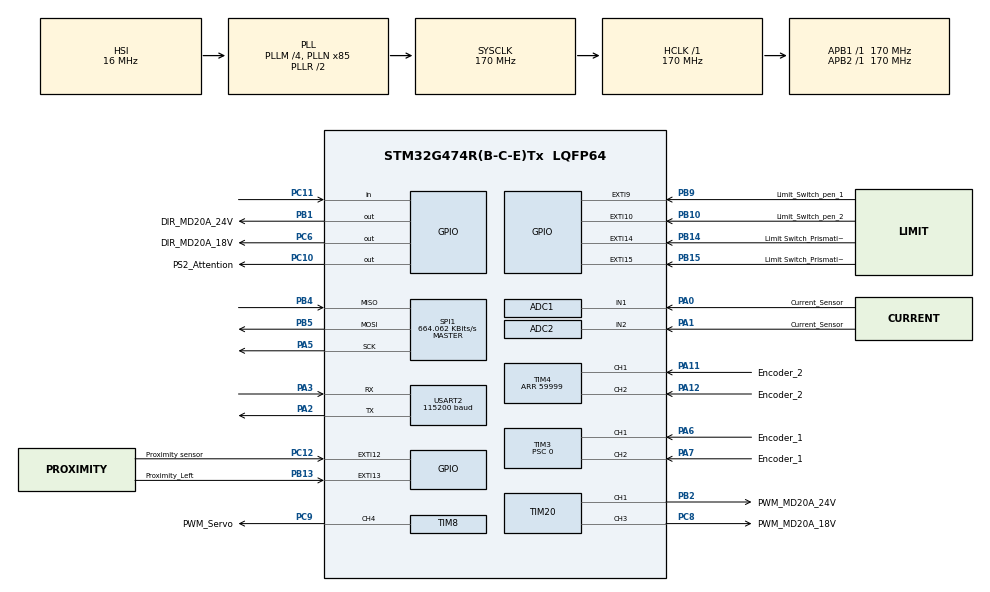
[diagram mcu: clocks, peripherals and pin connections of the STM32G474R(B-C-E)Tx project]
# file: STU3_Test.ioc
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ADC1.Channel-0\#ChannelRegularConversion=ADC_CHANNEL_1
ADC1.NbrOfConversionFlag=1
ADC1.OffsetNumber-0\#ChannelRegularConversion=ADC_OFFSET_NONE
ADC1.Rank-0\#ChannelRegularConversion=1
ADC1.SamplingTime-0\#ChannelRegularConversion=ADC_SAMPLETIME_2CYCLES_5
ADC1.master=1
ADC2.Channel-0\#ChannelRegularConversion=ADC_CHANNEL_2
ADC2.NbrOfConversionFlag=1
ADC2.OffsetNumber-0\#ChannelRegularConversion=ADC_OFFSET_NONE
ADC2.Rank-0\#ChannelRegularConversion=1
ADC2.SamplingTime-0\#ChannelRegularConversion=ADC_SAMPLETIME_2CYCLES_5
ARM.CMSIS-DSP.1.15.0.CMSISJjDSP=Source
ARM.CMSIS.6.0.0.CMSISJjCORE=true
Dma.Request0=USART2_TX
Dma.USART2_TX.0.Direction=DMA_MEMORY_TO_PERIPH
Dma.USART2_TX.0.EventEnable=DISABLE
Dma.USART2_TX.0.Instance=DMA1_Channel1
Dma.USART2_TX.0.MemDataAlignment=DMA_MDATAALIGN_BYTE
Dma.USART2_TX.0.MemInc=DMA_MINC_ENABLE
Dma.USART2_TX.0.Mode=DMA_NORMAL
Dma.USART2_TX.0.PeriphDataAlignment=DMA_PDATAALIGN_BYTE
Dma.USART2_TX.0.PeriphInc=DMA_PINC_DISABLE
Dma.USART2_TX.0.Polarity=HAL_DMAMUX_REQ_GEN_RISING
Dma.USART2_TX.0.Priority=DMA_PRIORITY_LOW
Dma.USART2_TX.0.RequestNumber=1
Dma.USART2_TX.0.SignalID=NONE
Dma.USART2_TX.0.SyncEnable=DISABLE
Dma.USART2_TX.0.SyncPolarity=HAL_DMAMUX_SYNC_NO_EVENT
Dma.USART2_TX.0.SyncRequestNumber=1
Dma.USART2_TX.0.SyncSignalID=NONE
Mcu.Family=STM32G4
Mcu.Name=STM32G474R(B-C-E)Tx
Mcu.Package=LQFP64
NVIC.DMA1_Channel1_IRQn=true\:0\:0\:false\:false\:true\:false\:true\:true
NVIC.EXTI15_10_IRQn=true\:0\:0\:false\:false\:true\:true\:true\:true
NVIC.EXTI9_5_IRQn=true\:0\:0\:false\:false\:true\:true\:true\:true
NVIC.PriorityGroup=NVIC_PRIORITYGROUP_4
NVIC.TIM1_BRK_TIM15_IRQn=true\:0\:0\:false\:false\:true\:true\:true\:true
NVIC.TIM1_UP_TIM16_IRQn=true\:0\:0\:false\:false\:true\:true\:true\:true
NVIC.TIM2_IRQn=true\:0\:0\:false\:false\:true\:true\:true\:true
NVIC.TIM6_DAC_IRQn=true\:0\:0\:false\:false\:true\:true\:true\:true
NVIC.USART2_IRQn=true\:0\:0\:false\:false\:true\:true\:true\:true
PA0.GPIO_Label=Current_Sensor
PA0.Mode=IN1-Single-Ended
PA0.Signal=ADC1_IN1
PA1.GPIO_Label=Current_Sensor
PA1.Signal=SharedAnalog_PA1
PA11.GPIO_Label=Encoder_2
PA11.Signal=S_TIM4_CH1
PA12.GPIO_Label=Encoder_2
PA12.Signal=S_TIM4_CH2
PA13.Signal=SYS_JTMS-SWDIO
PA14.Signal=SYS_JTCK-SWCLK
PA2.Mode=Asynchronous
PA2.Signal=USART2_TX
PA3.Mode=Asynchronous
PA3.Signal=USART2_RX
PA5.Mode=Full_Duplex_Master
PA5.Signal=SPI1_SCK
PA6.GPIO_Label=Encoder_1
PA6.GPIO_Speed=GPIO_SPEED_FREQ_LOW
PA6.Signal=S_TIM3_CH1
PA7.GPIO_Label=Encoder_1
PA7.GPIO_Speed=GPIO_SPEED_FREQ_LOW
PA7.Signal=S_TIM3_CH2
PB1.GPIO_Label=DIR_MD20A_24V
PB1.Signal=GPIO_Output
PB10.GPIO_Label=Limit_Switch_pen_2
PB10.GPIO_ModeDefaultEXTI=GPIO_MODE_IT_FALLING
PB10.Signal=GPXTI10
PB13.GPIO_Label=Proximity_Left
PB13.Signal=GPXTI13
PB14.GPIO_Label=Limit Switch_Prismatic1
PB14.GPIO_ModeDefaultEXTI=GPIO_MODE_IT_FALLING
PB14.Signal=GPXTI14
PB15.GPIO_Label=Limit Switch_Prismatic2
PB15.GPIO_ModeDefaultEXTI=GPIO_MODE_IT_RISING
PB15.Signal=GPXTI15
PB2.GPIO_Label=PWM_MD20A_24V
PB2.Signal=S_TIM20_CH1
PB3.Signal=SYS_JTDO-SWO
PB4.Mode=Full_Duplex_Master
PB4.Signal=SPI1_MISO
PB5.Mode=Full_Duplex_Master
PB5.Signal=SPI1_MOSI
PB9.GPIO_Label=Limit_Switch_pen_1
PB9.GPIO_ModeDefaultEXTI=GPIO_MODE_IT_FALLING
PB9.Signal=GPXTI9
PC10.GPIO_Label=PS2_Attention
PC10.PinState=GPIO_PIN_SET
PC10.Signal=GPIO_Output
PC11.Signal=GPIO_Input
PC12.GPIO_Label=Proximity sensor
PC12.GPIO_ModeDefaultEXTI=GPIO_MODE_IT_FALLING
PC12.GPIO_PuPd=GPIO_NOPULL
PC12.Signal=GPXTI12
PC14-OSC32_IN.GPIO_Label=RCC_OSC32_IN
PC14-OSC32_IN.Signal=RCC_OSC32_IN
PC15-OSC32_OUT.GPIO_Label=RCC_OSC32_OUT
PC15-OSC32_OUT.Signal=RCC_OSC32_OUT
PC6.GPIO_Label=DIR_MD20A_18V
PC6.GPIO_ModeDefaultOutputPP=GPIO_MODE_OUTPUT_PP
PC6.GPIO_PuPd=GPIO_NOPULL
PC6.Signal=GPIO_Output
PC8.GPIO_Label=PWM_MD20A_18V
PC8.Signal=S_TIM20_CH3
PC9.GPIO_Label=PWM_Servo
PC9.Signal=S_TIM8_CH4
PF0-OSC_IN.GPIO_Label=RCC_OSC_IN
PF0-OSC_IN.Signal=RCC_OSC_IN
PF1-OSC_OUT.GPIO_Label=RCC_OSC_OUT
PF1-OSC_OUT.Signal=RCC_OSC_OUT
ProjectManager.HeapSize=0x200
ProjectManager.StackSize=0x400
ProjectManager.TargetToolchain=STM32CubeIDE
RCC.ADC12Freq_Value=170000000
RCC.ADC345Freq_Value=170000000
RCC.AHBFreq_Value=170000000
RCC.APB1Freq_Value=170000000
RCC.APB1TimFreq_Value=170000000
RCC.APB2Freq_Value=170000000
RCC.APB2TimFreq_Value=170000000
RCC.CortexFreq_Value=170000000
RCC.EXTERNAL_CLOCK_VALUE=12288000
RCC.HCLKFreq_Value=170000000
RCC.HSE_VALUE=24000000
RCC.HSI48_VALUE=48000000
RCC.HSI_VALUE=16000000
RCC.LSE_VALUE=32768
RCC.PLLM=RCC_PLLM_DIV4
RCC.PLLN=85
RCC.RTCClockSelection=RCC_RTCCLKSOURCE_LSE
RCC.SYSCLKFreq_VALUE=170000000
RCC.SYSCLKSource=RCC_SYSCLKSOURCE_PLLCLK
RCC.USBFreq_Value=170000000
RCC.VCOOutputFreq_Value=340000000
SH.S_TIM20_CH1.0=TIM20_CH1,PWM Generation1 CH1
SH.S_TIM20_CH3.0=TIM20_CH3,PWM Generation3 CH3
SH.S_TIM3_CH1.0=TIM3_CH1,Encoder_Interface
SH.S_TIM3_CH2.0=TIM3_CH2,Encoder_Interface
SH.S_TIM4_CH1.0=TIM4_CH1,Encoder_Interface
SH.S_TIM4_CH2.0=TIM4_CH2,Encoder_Interface
SH.S_TIM8_CH4.0=TIM8_CH4,PWM Generation4 CH4
SH.SharedAnalog_PA1.0=ADC1_IN2
SH.SharedAnalog_PA1.1=ADC2_IN2,IN2-Single-Ended
SPI1.BaudRatePrescaler=SPI_BAUDRATEPRESCALER_256
SPI1.CLKPhase=SPI_PHASE_2EDGE
SPI1.CLKPolarity=SPI_POLARITY_HIGH
SPI1.CalculateBaudRate=664.062 KBits/s
SPI1.DataSize=SPI_DATASIZE_8BIT
SPI1.Direction=SPI_DIRECTION_2LINES
SPI1.FirstBit=SPI_FIRSTBIT_LSB
SPI1.Mode=SPI_MODE_MASTER
SPI1.VirtualType=VM_MASTER
TIM1.PeriodNoDither=60000
TIM16.Channel=TIM_CHANNEL_1
TIM16.OCMode_1=TIM_OCMODE_ACTIVE
TIM16.PeriodNoDither=2005
TIM16.Prescaler=169
TIM16.PulseNoDither_1=1433
TIM2.PeriodNoDither=1000
TIM2.Prescaler=169
TIM20.Channel-PWM\ Generation1\ CH1=TIM_CHANNEL_1
TIM20.Channel-PWM\ Generation3\ CH3=TIM_CHANNEL_3
TIM3.EncoderMode=TIM_ENCODERMODE_TI12
TIM3.PeriodNoDither=59999
TIM3.Prescaler=0
TIM4.EncoderMode=TIM_ENCODERMODE_TI12
TIM4.PeriodNoDither=59999
TIM6.PeriodNoDither=1000
TIM6.Prescaler=169
TIM8.Channel-PWM\ Generation4\ CH4=TIM_CHANNEL_4
TIM8.PeriodNoDither=19999
TIM8.Prescaler=169
USART2.BaudRate=115200
USART2.Parity=PARITY_EVEN
USART2.VirtualMode-Asynchronous=VM_ASYNC
USART2.WordLength=WORDLENGTH_9B
VP_ARM.CMSIS-DSP_VS_CMSISJjDSP_1.15.0_1.15.0.Mode=CMSISJjDSP
VP_ARM.CMSIS_VS_CMSISJjCORE_6.0.0_6.0.0.Mode=CMSISJjCORE
VP_SYS_VS_DBSignals.Mode=DisableDeadBatterySignals
VP_TIM16_VS_ClockSourceINT.Mode=Enable_Timer
VP_TIM16_VS_OPM.Mode=OPM_bit
VP_TIM16_VS_no_output1.Mode=Output Compare1 No Output
VP_TIM1_VS_ClockSourceINT.Mode=Internal
VP_TIM20_VS_ClockSourceINT.Mode=Internal
VP_TIM2_VS_ClockSourceINT.Mode=Internal
VP_TIM6_VS_ClockSourceINT.Mode=Enable_Timer
VP_TIM8_VS_ClockSourceINT.Mode=Internal
board=NUCLEO-G474RE

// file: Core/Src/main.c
/* USER CODE BEGIN Header */
/**
 ******************************************************************************
 * @file           : main.c
 * @brief          : Main program body
 ******************************************************************************
 * @attention
 *
 * Copyright (c) 2025 STMicroelectronics.
 * All rights reserved.
 *
 * This software is licensed under terms that can be found in the LICENSE file
 * in the root directory of this software component.
 * If no LICENSE file comes with this software, it is provided AS-IS.
 *
 ******************************************************************************
 */
/* USER CODE END Header */
#include "main.h"
#include "adc.h"
#include "dma.h"
#include "spi.h"
#include "tim.h"
#include "usart.h"
#include "gpio.h"

/* USER CODE BEGIN Includes */
#include "arm_math.h"
#include "Encoder.h"
#include "Trajectory.h"
#include "Anti_backlash.h"
//#include "ModBusRTU.h"
#include "Based_System_Communication.h"
#include "Kalman_Filter.h"
#include "Prismatic.h"
#include "Revolute.h"
#include "Joystick.h"
#include "emergency_switch.h"
/* USER CODE END Includes */

/* USER CODE BEGIN PV */
Encoder encoder1;
Encoder encoder2;
uint32_t QEIReadRaw3;
uint32_t QEIReadRaw4;

//Trajectory
float pos_pris;
float vel_pris;
float pos_rev;
float vel_rev;
TrajectorySegment segments[MAX_SEGMENTS];
int current_segment = 0;
TrajectorySegment Prismatic[MAX_SEGMENTS];
#define v_max_pris 500.0f
#define a_max_pris 250.0f
//#define Offset_Rev 0.436332f
TrajectorySegment Revolute[MAX_SEGMENTS];
#define v_max_rev 1.0f
#define a_max_rev 0.4f
float t_global = 0;
float traj_start_time = 0.0f;
float start_p;
float start_r;
float traj_start_time_target = 0.0f;
uint8_t has_initialized_target_traj = 0;

float acc;
float p1 = 0;
float v1 = 0;
float a1 = 0;
float p2 = 0;
float v2 = 0;
float a2 = 0;
int check = 0;
int State = 0;
uint16_t adc_1 = 0;
uint16_t adc_2 = 0;

ModbusHandleTypedef hmodbus;
u16u8_t registerFrame[200];
uint8_t Base_Sysytem_status;
uint8_t Servo_status;
uint8_t R_Theta_status;
uint8_t servo_command;
float Goal_r_position;
float Goal_theta_position;

uint16_t status;
int DIR_18V;
int DIR_24V;
float gain_disturbance_rev;
float voltage_dis_rev;
float pwm;
float voltage;
int count_Tim2;

BacklashController Rev_backlash;

// position control prismatic
arm_pid_instance_f32 Pris_posi_PID = { 0 };
float position_pris = 0;
float setposition_pris = 0;
float V_pris_posi_PID = 0;
float V_absoulte_pris = 0;
float pwm_pris_posi;
float error_posi_pris[2];
float delta_posi_pris;

// velocity control prismatic
arm_pid_instance_f32 Pris_velo_PID = { 0 };
float velocity_pris = 0;
float setvelocity_pris = 0;
float V_pris_velo_PID = 0;
float pwm_pris_velo;
float error_velo_pris[2];
float delta_velo_pris;

// position control revolute
arm_pid_instance_f32 Rev_posi_PID = { 0 };
float position_rev = 0;
float setposition_rev = 0;
float V_rev_posi_PID = 0;
float pwm_rev_posi;
float error_posi_rev[2];
float delta_posi_rev;

// velocity control revolute
arm_pid_instance_f32 Rev_velo_PID = { 0 };
float velocity_rev = 0;
float setvelocity_rev = 0;
float V_rev_velo_PID = 0;
float pwm_rev_velo;
float error_velo_rev[2];
float delta_velo_rev;
float V_absolute_rev;
float V_plant;

KalmanFilter kf_pris;
KalmanFilter kf_rev;
PrismaticMotor Pris_motor;
RevoluteMotor Rev_motor;
float Measurement_Pris[4] = { 0 };
float Measurement_Rev[4] = { 0 };

float load;
float sine;
float encoder;

int Circle;
int Square;
int Triangle;
int Cross;
int R1;
int R2;
int Select;
int Start;
int L1;
int L2;
int Up;
int Down;
int Right;
int Left;
//float PrismaticTenPoints[11] = { 0.0f, 200.0f, 500.0f, 390.0f, 240.0f, 120.0f, 280.0f, 400.0f, 600.0f, 0.0f, 600.0f };
//float RevoluteTenPoints[11] = { 0.0f, 0.5f, 0.25f, 1.0f, 0.25f, 0.5f, 0.75f, 1.0f, 0.75f, 0.5f, 0.0f };
float PrismaticTenPoints[11];
//float RevoluteTenPoints[11];
float RevoluteTenPoints_Degree[11];
float PrismaticTenPoints_real[11];
float RevoluteTenPoints_real[11];
int count = 1;
float delay_pris[10];
float delay_rev[10];

uint8_t Num_point = 0;

Robot_goal_point Goal_point[10];
Robot_goal_point Go_to_point;

int set_home_pris;
int count_pris;
int plotter;
int state_start = 0;
int state_go_to = 0;

uint32_t last_servo_tick = 0;
uint8_t servo_state = 0;

uint8_t Home_Pris = 0;
uint8_t Home_Rev = 0;
uint8_t Home_two_dof = 0;

uint32_t Emer_trick = 0;
uint32_t Emer_last_trick = 0;
uint8_t Emer_state = 0;
uint32_t Emer_count = 0;

// Emergency Switch
#define EMERGENCY_SWITCH_PORT    GPIOC
#define EMERGENCY_SWITCH_PIN     GPIO_PIN_11
static emergency_switch_t emergency_filter;
static uint8_t emergency_active = 0;
uint8_t state_Emer = 0;
uint8_t Before_Emer = 0;
/* USER CODE END PV */

void SystemClock_Config(void);
/* USER CODE BEGIN PFP */
float Prismatic_position_control(float delta_posi);
float Prismatic_velocity_control(float delta_velo);
float Revolute_position_control(float delta_posi);
float Revolute_velocity_control(float delta_velo);
float voltage_to_pwm(float voltage);
float Prismatic_dis();
float Revolute_dis();
void set_home_Pris();
void set_home_Rev();
void emergency_system_setup();
void emergency_process_sample();
/* USER CODE END PFP */

int main(void)
{

  /* MCU Configuration--------------------------------------------------------*/

  /* Reset of all peripherals, Initializes the Flash interface and the Systick. */
  HAL_Init();

  /* Configure the system clock */
  SystemClock_Config();

  /* Initialize all configured peripherals */
  MX_GPIO_Init();
  MX_DMA_Init();
  MX_TIM3_Init();
  MX_ADC1_Init();
  MX_TIM1_Init();
  MX_TIM2_Init();
  MX_TIM4_Init();
  MX_TIM20_Init();
  MX_TIM8_Init();
  MX_TIM16_Init();
  MX_USART2_UART_Init();
  MX_ADC2_Init();
  MX_SPI1_Init();
  MX_TIM6_Init();
  /* USER CODE BEGIN 2 */
	HAL_TIM_Base_Start(&htim20);
	HAL_TIM_Base_Start(&htim8);
	HAL_TIM_PWM_Start(&htim8, TIM_CHANNEL_4);
	HAL_TIM_PWM_Start(&htim20, TIM_CHANNEL_1);
	HAL_TIM_PWM_Start(&htim20, TIM_CHANNEL_3);
	Encoder_Init(&encoder1, &htim4);
	Encoder_Init(&encoder2, &htim3);
	HAL_ADC_Start(&hadc1);
	HAL_TIM_Base_Start_IT(&htim2);
	HAL_TIM_Base_Start_IT(&htim6);

	uint64_t lastTick = 0;

	HAL_TIM_Encoder_Start(&htim3, TIM_CHANNEL_ALL);
	HAL_TIM_Encoder_Start(&htim4, TIM_CHANNEL_ALL);

	hmodbus.huart = &huart2;
	hmodbus.htim = &htim16;
	hmodbus.slaveAddress = 0x15;
	hmodbus.RegisterSize = 200;
	Modbus_init(&hmodbus, registerFrame);

	Kalman_Init(&kf_pris);

	kf_pris.A_data[0] = 1;
	kf_pris.A_data[1] = 0.0008395;
	kf_pris.A_data[2] = -4.198e-07;
	kf_pris.A_data[3] = 1.282e-05;
	kf_pris.A_data[4] = 0;
	kf_pris.A_data[5] = 0.6791;
	kf_pris.A_data[6] = -0.0008395;
	kf_pris.A_data[7] = 0.02564;
	kf_pris.A_data[8] = 0;
	kf_pris.A_data[9] = 0;
	kf_pris.A_data[10] = 1;
	kf_pris.A_data[11] = 0;
	kf_pris.A_data[12] = 0;
	kf_pris.A_data[13] = -0.04203;
	kf_pris.A_data[14] = 2.101e-05;
	kf_pris.A_data[15] = -0.09565;

	kf_pris.B_data[0] = 4.006e-06;
	kf_pris.B_data[1] = 0.008011;
	kf_pris.B_data[2] = 0;
	kf_pris.B_data[3] = 0.2826;

	// Identity H
	for (int i = 0; i < KALMAN_MEAS_DIM; i++) {
		for (int j = 0; j < KALMAN_STATE_DIM; j++) {
			kf_pris.H_data[i * KALMAN_STATE_DIM + j] = (i == j) ? 1.0f : 0.0f;
		}
	}

	// Prismatic
	kf_pris.x_data[0] = 0;
	kf_pris.x_data[1] = 0;
	kf_pris.x_data[2] = 0;
	kf_pris.x_data[3] = 0;

	Kalman_SetMeasurementNoise(&kf_pris, 0.01f);
	Kalman_SetProcessNoise(&kf_pris, 0.9f);

	Kalman_Init(&kf_rev);

	kf_rev.A_data[0] = 1;
	kf_rev.A_data[1] = 0.0009998;
	kf_rev.A_data[2] = -2.659e-06;
	kf_rev.A_data[3] = 8.108e-08;
	kf_rev.A_data[4] = 0;
	kf_rev.A_data[5] = 0.9996;
	kf_rev.A_data[6] = -0.005318;
	kf_rev.A_data[7] = 0.0001622;
	kf_rev.A_data[8] = 0;
	kf_rev.A_data[9] = 0;
	kf_rev.A_data[10] = 1;
	kf_rev.A_data[11] = 0;
	kf_rev.A_data[12] = 0;
	kf_rev.A_data[13] = -2.746;
	kf_rev.A_data[14] = 0.007303;
	kf_rev.A_data[15] = 0.1354;

	kf_rev.B_data[0] = 1.203e-07;
	kf_rev.B_data[1] = 0.0002406;
	kf_rev.B_data[2] = 0;
	kf_rev.B_data[3] = 1.685;

	// Identity H
	for (int i = 0; i < 2; i++) {
		for (int j = 0; j < 4; j++) {
			if (i == j) {
				kf_rev.H_data[i * 4 + j] = 1.0f;
			} else {
				kf_rev.H_data[i * 4 + j] = 0.0f;
			}
		}
	}

	// Revolute
	kf_rev.x_data[0] = 0;
	kf_rev.x_data[1] = 0;
	kf_rev.x_data[2] = 0;
	kf_rev.x_data[3] = 0;

	Kalman_SetMeasurementNoise(&kf_rev, 0.08f);
	Kalman_SetProcessNoise(&kf_rev, 0.12f);

	Pris_motor = create_prismatic_motor(2.29e-04, 4.82e-04, 8.75e-01, 1.77e-01,
			1.77e-01, 3.8719, 0.0016);
	Rev_motor = create_motor(1.88E-01, 6.91E-03, 7.36E-01, 1.63E+00,
			1.63E+00 * 7.36E-01, 5.13E-01, 3.37E-04);

	// Prismatic Position
	Pris_posi_PID.Kp = 0.3;
	Pris_posi_PID.Ki = 0.01;
	Pris_posi_PID.Kd = 0.3;
	arm_pid_init_f32(&Pris_posi_PID, 0);

	// Prismatic Velocity
	Pris_velo_PID.Kp = 0.08;
	Pris_velo_PID.Ki = 0.01;
	Pris_velo_PID.Kd = 0;
	arm_pid_init_f32(&Pris_velo_PID, 0);

	// Revolute Position
	Rev_posi_PID.Kp = 1.5;
	Rev_posi_PID.Ki = 0.8;
	Rev_posi_PID.Kd = 0.4;
	arm_pid_init_f32(&Rev_posi_PID, 0);

	// Revolute Velocity
	Rev_velo_PID.Kp = 3.0;
	Rev_velo_PID.Ki = 0.1;
	Rev_velo_PID.Kd = 0;
	arm_pid_init_f32(&Rev_velo_PID, 0);

	EMERGENCY_SWITCH_INIT_STANDARD(&emergency_filter);

	//Backlash_Init(&Rev_backlash, 0.0349066);
	//Encoder_setLimit(&encoder2,0.436332);
	//encoder2.position = 0.436332; // offset

//	InitTrajectorySegment(&segments[0], 0.0f, 200.0f, 500.0f, 250.0f, 0.0f);
//	InitTrajectorySegment(&segments[0], 0.0f, 0.785f, 1.0f, 0.4f, 0.0f);
//	InitTrajectorySegment(&segments[1], 100.0f, 50.0f, 40.0f, 80.0f, segments[0].t_start + segments[0].t_total);
//	InitTrajectorySegment(&segments[2], 50.0f, 200.0f, 60.0f, 120.0f, segments[1].t_start + segments[1].t_total);
  /* USER CODE END 2 */

  /* Infinite loop */
	while (1) {

    /* USER CODE BEGIN 3 */
		if (emergency_active == 1) {
			state_Emer = 1;
		} else {
			state_Emer = 0;
		}

		uint64_t currentTick = HAL_GetTick();
		float dt = (currentTick - lastTick) / 1000.0f;
		Modbus_Protocal_Worker();
		modbus_heartbeat(&hmodbus);
		Base_Sysytem_status = modbus_Base_System_Status(&hmodbus);
		PS2_ReadData();
		if (modbus_write_servo_up(&hmodbus) == 1) {
			plotter = 1;
		}
		if (modbus_write_servo_down(&hmodbus) == 1) {
			plotter = 2;
		}

		t_global = HAL_GetTick() / 1000.0f;

//		uint32_t now = HAL_GetTick();
//		if (now - last_servo_tick >= 500) {
//			last_servo_tick = now;
//			if (servo_state == 0) {
//				__HAL_TIM_SET_COMPARE(&htim8, TIM_CHANNEL_4, 500);
//				servo_state = 1;
//			} else {
//				__HAL_TIM_SET_COMPARE(&htim8, TIM_CHANNEL_4, 2000);
//				servo_state = 0;
//			}
//		}

		if (dt >= 0.001f) {

			HAL_ADC_Start(&hadc1);
			HAL_ADC_Start(&hadc2);
			adc_1 = HAL_ADC_GetValue(&hadc1);
			adc_2 = HAL_ADC_GetValue(&hadc2);

			Encoder_Update(&encoder1, dt);
			Encoder_Update(&encoder2, dt);
			lastTick = currentTick;
			QEIReadRaw3 = __HAL_TIM_GET_COUNTER(&htim3);
			QEIReadRaw4 = __HAL_TIM_GET_COUNTER(&htim4);

			p1 = Encoder_GetPosition_mm(&encoder1);
			v1 = Encoder_GetVelocity_mm(&encoder1);
			a1 = Encoder_GetAcceleration_mm(&encoder1);

			p2 = Encoder_GetPosition(&encoder2);
			v2 = Encoder_GetVelocity(&encoder2);
			a2 = Encoder_GetAcceleration(&encoder2);

			if (state_Emer == 1) {
				//if (Emer_count % 2 == 1) {
				__HAL_TIM_SET_COMPARE(&htim20, TIM_CHANNEL_1, 0);
				__HAL_TIM_SET_COMPARE(&htim20, TIM_CHANNEL_3, 0);
				Before_Emer = state_Emer;
				//    } else if (Emer_count % 2 == 0) {
				//     Emer_state = 9;
				//    }
			} else if (state_Emer == 0 && Before_Emer == 1) {
				//    if (Home_Pris == 0) {
				//     //set_home_Pris();
				//    } else {
				//     __HAL_TIM_SET_COMPARE(&htim20, TIM_CHANNEL_1, 0);
				//    }
				//    if (Home_Rev == 0) {
				//     //set_home_Rev();
				//
				//    } else {
				//     __HAL_TIM_SET_COMPARE(&htim20, TIM_CHANNEL_3, 0);
				//    }
				//    if (Home_Rev == 1 && Home_Pris == 1) {
				//     Home_two_dof = 1;
				//     __HAL_TIM_SET_COMPARE(&htim20, TIM_CHANNEL_1, 0);
				//     __HAL_TIM_SET_COMPARE(&htim20, TIM_CHANNEL_3, 0);
				NVIC_SystemReset();
			}

			else if (Base_Sysytem_status == Base_Home) {

				R_Theta_moving_Status(&hmodbus, Home);
//
//				if (Home_Pris == 0) {
//					set_home_Pris();
//				} else {
//					__HAL_TIM_SET_COMPARE(&htim20, TIM_CHANNEL_1, 0);
//				}
//				if (Home_Rev == 0) {
//					set_home_Rev();
//
//				} else {
//					__HAL_TIM_SET_COMPARE(&htim20, TIM_CHANNEL_3, 0);
//				}
//				if (Home_Rev == 1 && Home_Pris == 1) {
//					Home_two_dof = 1;
//					__HAL_TIM_SET_COMPARE(&htim20, TIM_CHANNEL_1, 0);
//					__HAL_TIM_SET_COMPARE(&htim20, TIM_CHANNEL_3, 0);
//					NVIC_SystemReset();
//				}

			} else if (Base_Sysytem_status == Base_Run_Jog_mode) {

				R_Theta_moving_Status(&hmodbus, Run_Jog_mode);

				Circle = PS2_ButtonCircle();
				Square = PS2_ButtonSquare();
				Triangle = PS2_ButtonTriangle();
				Cross = PS2_ButtonCross();
				R1 = PS2_ButtonR1();
				R2 = PS2_ButtonR2();
				Select = PS2_ButtonSelect();
				Start = PS2_ButtonStart();
				L1 = PS2_ButtonL1();
				L2 = PS2_ButtonL2();
				Up = PS2_ButtonUp();
				Down = PS2_ButtonDown();
				Right = PS2_ButtonRight();
				Left = PS2_ButtonLeft();

//				if (PS2_ButtonSquare()) {
//					// Move Right (Revolute)
//					HAL_GPIO_WritePin(GPIOC, GPIO_PIN_6, 1); // 0 or 1
//					__HAL_TIM_SET_COMPARE(&htim20, TIM_CHANNEL_3, 30000);
//				} else if (PS2_ButtonCircle()) {
//					// Move Left (Revolute)
//					HAL_GPIO_WritePin(GPIOC, GPIO_PIN_6, 0); // 0 or 1
//					__HAL_TIM_SET_COMPARE(&htim20, TIM_CHANNEL_3, 30000);
//				} else {
//					//float v_set = (Revolute_dis() / 18.0) * 65535.0;
//					// HAL_GPIO_WritePin(GPIOC, GPIO_PIN_6, 0); // 0 or 1
//					//__HAL_TIM_SET_COMPARE(&htim20, TIM_CHANNEL_3, v_set);
//					HAL_GPIO_WritePin(GPIOC, GPIO_PIN_6, 0); // 0 or 1
//					__HAL_TIM_SET_COMPARE(&htim20, TIM_CHANNEL_3, 0);
//				}
//
//				if (PS2_ButtonTriangle()) {
//					// Move Up (Prismatic)
//					HAL_GPIO_WritePin(GPIOB, GPIO_PIN_1, 1); // 0 or 1
//					__HAL_TIM_SET_COMPARE(&htim20, TIM_CHANNEL_1, 40000);
//				} else if (PS2_ButtonCross()) {
//					// Move Down (Prismatic)
//					HAL_GPIO_WritePin(GPIOB, GPIO_PIN_1, 0); // 0 or 1
//					__HAL_TIM_SET_COMPARE(&htim20, TIM_CHANNEL_1, 40000);
//				} else {
//					HAL_GPIO_WritePin(GPIOB, GPIO_PIN_1, 0); // 0 or 1
//					__HAL_TIM_SET_COMPARE(&htim20, TIM_CHANNEL_1, 0);
//				}
//
//				if (PS2_ButtonR1()) {
//					// Servo/Pen Move up
//					__HAL_TIM_SET_COMPARE(&htim8, TIM_CHANNEL_4, 500);
//				} else if (PS2_ButtonR2()) {
//					// Servo/Pen Move Down
//					__HAL_TIM_SET_COMPARE(&htim8, TIM_CHANNEL_4, 2000);
//				} else {
//					__HAL_TIM_SET_COMPARE(&htim8, TIM_CHANNEL_4, 0);
//				}
//
//				uint8_t selectPressed = PS2_ButtonL2();
//				static uint8_t prevSelect = 0;
//				if (selectPressed && !prevSelect) {
//					if (count < 11) {
////						float test[11] = { 0.0f, 25.0f, 50.0f, 75.0f, 75.0f,
////								0.0f, 95.0f, 0.0f, 0.0f, 100.0f };
//						PrismaticTenPoints[count] = roundf(
//								Encoder_GetPosition_mm(&encoder1) * 10.0f);
//						RevoluteTenPoints_Degree[count] = roundf(
//								(Encoder_GetDegree(&encoder2) / (100.0 / 30.0))
//										* 10.0f);
//						PrismaticTenPoints_real[count] = Encoder_GetPosition_mm(
//								&encoder1);
//						RevoluteTenPoints_real[count] = Encoder_GetPosition(
//								&encoder2) / (100.0 / 30.0);
////						PrismaticTenPoints_real[count] = test[count];
////						RevoluteTenPoints_real[count] = test[count] / 10.0f;
//						count += 1;
//					}
//				}
//				prevSelect = selectPressed;
//
//				static uint8_t prevStart = 0;
//				uint8_t nowStart = PS2_ButtonStart();
//				if (nowStart && !prevStart) {
//					state_start = 1;
//					traj_start_time = t_global;
//					encoder1.position_mm = 0;
//					encoder2.position = 0;
//					for (int i = 0; i < 10; i++) {
//						float start_pris = PrismaticTenPoints_real[i];
//						float end_pris = PrismaticTenPoints_real[i + 1];
//						float start_rev = RevoluteTenPoints_real[i];
//						float end_rev = (RevoluteTenPoints_real[i + 1]);
//
//						float t_start_pris =
//								(i == 0) ?
//										0.0f :
//										Prismatic[i - 1].t_start
//												+ Prismatic[i - 1].t_total
//												+ delay_pris[i - 1];
//						float t_start_rev =
//								(i == 0) ?
//										0.0f :
//										Revolute[i - 1].t_start
//												+ Revolute[i - 1].t_total
//												+ delay_rev[i - 1];
//
//						if (fabsf(end_pris - start_pris) < 0.001f) {
//							InitHoldTrajectorySegment(&Prismatic[i], start_pris,
//									5.5f, t_start_pris);
//							delay_pris[i] = 0.0f;
//						} else {
//							InitTrajectorySegment(&Prismatic[i], start_pris,
//									end_pris, v_max_pris, a_max_pris,
//									t_start_pris);
//							delay_pris[i] = 5.5f - Prismatic[i].t_total;
//							if (delay_pris[i] < 0.0f)
//								delay_pris[i] = 0.0f;
//						}
//
//						if (fabsf(end_rev - start_rev) < 0.001f) {
//							InitHoldTrajectorySegment(&Revolute[i], start_rev,
//									5.5f, t_start_rev);
//							delay_rev[i] = 0.0f;
//						} else {
//							InitTrajectorySegment(&Revolute[i], start_rev,
//									end_rev, v_max_rev, a_max_rev, t_start_rev);
//							delay_rev[i] = 5.5f - Revolute[i].t_total;
//							if (delay_rev[i] < 0.0f)
//								delay_rev[i] = 0.0f;
//						}
//					}
//					current_segment = 0;
//				}
//				prevStart = nowStart;
//
//				float t_relative = t_global - traj_start_time;
//
//				if (current_segment < 10) {
//					pos_pris = GetTrajectoryPosition(
//							&Prismatic[current_segment], t_relative);
//					vel_pris = GetTrajectoryVelocity(
//							&Prismatic[current_segment], t_relative);
//					pos_rev = GetTrajectoryPosition(&Revolute[current_segment],
//							t_relative);
//					vel_rev = GetTrajectoryVelocity(&Revolute[current_segment],
//							t_relative);
//				} else {
//					pos_pris = Prismatic[9].end_pos;
//					vel_pris = 0.0f;
//					pos_rev = Revolute[9].end_pos;
//					vel_rev = 0.0f;
//					state_start = 0;
//				}
//
//				if (t_relative
//						> Prismatic[current_segment].t_start
//								+ Prismatic[current_segment].t_total
//						&& t_relative
//								> Revolute[current_segment].t_start
//										+ Revolute[current_segment].t_total) {
//					if (current_segment < 9)
//						current_segment++;
//				}
//
//				if (plotter == 1) // Pen_Up
//				{
//					__HAL_TIM_SET_COMPARE(&htim8, TIM_CHANNEL_4, 500);
//					modbus_servo_Status(&hmodbus, Limit_Up);
//				} else if (plotter == 2) // Pen_Down
//				{
////					if (status < 2000) {
////						status += 1;
////					} else {
////						status += 0;
////					}
//					__HAL_TIM_SET_COMPARE(&htim8, TIM_CHANNEL_4, 2000);
//					modbus_servo_Status(&hmodbus, Limit_Down);
//				} else {
//					__HAL_TIM_SET_COMPARE(&htim8, TIM_CHANNEL_4, 0);
//				}
//
//				if (count == 11 && Num_point <= 9) {  // Set_Target 10 points
//					Coordinate_Robot_to_Base(&Goal_point[Num_point],
//							PrismaticTenPoints[Num_point + 1],
//							RevoluteTenPoints_Degree[Num_point + 1]);
//					set_Target_Position_ten_points(&hmodbus,
//							Goal_point[Num_point].r_goal_position,
//							Goal_point[Num_point].theta_goal_position,
//							Num_point);
//					Num_point += 1;
//				}

//				float t_end = Revolute[current_segment].t_start + Revolute[current_segment].t_total;
//				if (t_relative > t_end && t_relative < t_end + 1.5f) { // check setpoint
//					__HAL_TIM_SET_COMPARE(&htim8, TIM_CHANNEL_4, 2000);
//					modbus_servo_Status(&hmodbus, Limit_Down);
//				} else {
//					__HAL_TIM_SET_COMPARE(&htim8, TIM_CHANNEL_4, 500);
//					modbus_servo_Status(&hmodbus, Limit_Up);
//				}

			} else if (Base_Sysytem_status == Base_Run_Point_mode) {

				Goal_r_position = modbus_set_goal_r_position(&hmodbus);
				Goal_theta_position = modbus_set_goal_theta_position(&hmodbus);
				R_Theta_moving_Status(&hmodbus, Run_Point_mode);

			}

			else if (Base_Sysytem_status == Base_Go_to_Target) {

				R_Theta_moving_Status(&hmodbus, Go_to_Target);

				state_go_to = 1;

				if (!has_initialized_target_traj) {
					Coordinate_Base_to_Robot(&Go_to_point, Goal_r_position,
							Goal_theta_position);

					traj_start_time_target = HAL_GetTick() / 1000.0f;
					has_initialized_target_traj = 1;

					start_p = Go_to_point.r_goal_position;
					start_r = Go_to_point.theta_goal_position - 0.429351f + 0.02;
					InitTrajectorySegment(&Prismatic[0], 0.0f, start_p,
					v_max_pris, a_max_pris, 0.0f);
					InitTrajectorySegment(&Revolute[0], 0.0f, start_r,
					v_max_rev, a_max_rev, 0.0f);
				}

				float t_rel = t_global - traj_start_time_target;
				pos_pris = GetTrajectoryPosition(&Prismatic[0], t_rel);
				vel_pris = GetTrajectoryVelocity(&Prismatic[0], t_rel);
				pos_rev = GetTrajectoryPosition(&Revolute[0], t_rel);
				vel_rev = GetTrajectoryVelocity(&Revolute[0], t_rel);

				if (plotter == 1) // Pen_Up
				{
					__HAL_TIM_SET_COMPARE(&htim8, TIM_CHANNEL_4, 500);
					modbus_servo_Status(&hmodbus, Limit_Up);
				} else if (plotter == 2) // Pen_Down
						{
//					if (status < 2000) {
//						status += 1;
//					} else {
//						status += 0;
//					}
					__HAL_TIM_SET_COMPARE(&htim8, TIM_CHANNEL_4, 2000);
					modbus_servo_Status(&hmodbus, Limit_Down);
				} else {
					__HAL_TIM_SET_COMPARE(&htim8, TIM_CHANNEL_4, 0);
				}

				float t_end = Revolute[0].t_start + Revolute[0].t_total;
//				if (t_global > t_end && t_global < t_end + 1.5f) { // check setpoint
//					__HAL_TIM_SET_COMPARE(&htim8, TIM_CHANNEL_4, 2000);
//					modbus_servo_Status(&hmodbus, Limit_Down);
//				} else {
//					__HAL_TIM_SET_COMPARE(&htim8, TIM_CHANNEL_4, 500);
//					modbus_servo_Status(&hmodbus, Limit_Up);
//				}

				if (t_global > t_end + 2.0f) {
					R_Theta_moving_Status(&hmodbus, Idle);
				}
			}

			if (Base_Sysytem_status != Base_Go_to_Target) {
				has_initialized_target_traj = 0;
				state_go_to = 0;
			}
//			if (state_start == 1 || state_go_to == 1)
//			{
			Measurement_Pris[0] = Encoder_GetPosition_mm(&encoder1);
			Measurement_Pris[1] = Encoder_GetVelocity_mm(&encoder1);
			Measurement_Pris[2] = 0;
			Measurement_Pris[3] = 0;

			Kalman_SetInput(&kf_pris, V_pris_velo_PID);
			Kalman_Predict(&kf_pris);
			Kalman_Update(&kf_pris, Measurement_Pris);

			Measurement_Rev[0] = Encoder_GetPosition(&encoder2) / (100.0 / 30.0);
			Measurement_Rev[1] = Encoder_GetVelocity(&encoder2) / (100.0 / 30.0);
			Measurement_Rev[2] = 0;
			Measurement_Rev[3] = 0;

			Kalman_SetInput(&kf_rev, V_rev_velo_PID);
			Kalman_Predict(&kf_rev);
			Kalman_Update(&kf_rev, Measurement_Rev);
//			}
			modbus_Update_All(&hmodbus, Encoder_GetPosition_mm(&encoder1), // r_pos
			Encoder_GetDegree(&encoder2), // theta_pos
			Encoder_GetVelocity_mm(&encoder1), // r_velo
			Encoder_GetVelocity(&encoder2) * 180.0 / 3.142, // theta_velo
			Encoder_GetAcceleration_mm(&encoder1), // r_accel
			Encoder_GetAcceleration(&encoder2) * 180.0 / 3.142); // theta_accel

			if ((state_start == 1 || state_go_to == 1) && state_Emer ==0) {
				Revolute_dis();
				count_Tim2 += 1;
				// Velocity Control Prismatic
				velocity_pris = Encoder_GetVelocity_mm(&encoder1);
				//			setvelocity_pris = GetTrajectoryVelocity(&Prismatic[current_segment], t_global) + V_pris_posi_PID;
				setvelocity_pris = vel_pris + V_pris_posi_PID;
				delta_velo_pris = setvelocity_pris - velocity_pris;
				//			delta_velo_pris = setvelocity_pris - kf_pris.x_data[1];
				V_pris_velo_PID = Prismatic_velocity_control(delta_velo_pris);

				// Velocity Control revolute
				velocity_rev = Encoder_GetVelocity(&encoder2) / (100.0 / 30.0);
				//			setvelocity_rev = GetTrajectoryVelocity(&Revolute[current_segment], t_global) + V_rev_posi_PID;
				setvelocity_rev = vel_rev + V_rev_posi_PID;
				//			delta_velo_rev = setvelocity_rev - velocity_rev;
				delta_velo_rev = setvelocity_rev - kf_rev.x_data[1];
				V_rev_velo_PID = Revolute_velocity_control(delta_velo_rev);
				if (count_Tim2 >= 10) {
					// Position Control Prismatic
					position_pris = Encoder_GetPosition_mm(&encoder1);
					//				setposition_pris = GetTrajectoryPosition(&Prismatic[current_segment], t_global);
					setposition_pris = pos_pris;
					delta_posi_pris = setposition_pris - position_pris;
					if (delta_posi_pris <= 0.1 && delta_posi_pris >= -0.1) {
						V_pris_posi_PID = 0;
						V_pris_velo_PID = 0;
					} else {
						V_pris_posi_PID = Prismatic_position_control(
								delta_posi_pris);
					}
					//				V_pris_posi_PID = Prismatic_position_control(delta_posi_pris);

					// Position Control Revolute
					position_rev = (Encoder_GetPosition(&encoder2)
							/ (100.0 / 30.0));
					//				setposition_rev = GetTrajectoryPosition(&Revolute[current_segment], t_global) + Rev_backlash.backlash_offset;
					setposition_rev = pos_rev; //+ Rev_backlash.backlash_offset;
					Backlash_Update(&Rev_backlash, pos_rev, p2, v2);
					delta_posi_rev = setposition_rev - position_rev;
					if (delta_posi_rev <= 0.1 && delta_posi_rev >= -0.1) {
						V_rev_posi_PID = 0;
						V_rev_velo_PID = 0;
					} else {
						V_rev_posi_PID = Revolute_position_control(
								delta_posi_rev);
					}

					count_Tim2 = 0;
				}
			}
		}

		if ((state_start == 1 || state_go_to == 1) && state_Emer ==0) {
			if (V_pris_velo_PID < 0) {
				DIR_24V = 0;
				V_absoulte_pris = fabsf(V_pris_velo_PID);
			} else if (V_pris_velo_PID > 0) {
				DIR_24V = 1;
				V_absoulte_pris = V_pris_velo_PID;
			}
			pwm_pris_velo = voltage_to_pwm(V_absoulte_pris);
//			HAL_GPIO_WritePin(GPIOB, GPIO_PIN_1, DIR_24V);
//			__HAL_TIM_SET_COMPARE(&htim20, TIM_CHANNEL_1, pwm_pris_velo);

			if (V_rev_velo_PID < 0) {
				DIR_18V = 0;
				V_absolute_rev = fabsf(V_rev_velo_PID);
			} else if (V_rev_velo_PID > 0) {
				DIR_18V = 1;
				V_absolute_rev = V_rev_velo_PID;
			}
			V_plant = V_absolute_rev + voltage_dis_rev;
			if (V_plant > 18) {
				V_plant = 18;
			}
			pwm_rev_velo = (V_plant / 18) * 65535;
			HAL_GPIO_WritePin(GPIOC, GPIO_PIN_6, DIR_18V);
			__HAL_TIM_SET_COMPARE(&htim20, TIM_CHANNEL_3, pwm_rev_velo);
		}

//		if (V_pris_velo_PID < 0) {
//			DIR_24V = 0;
//			V_absoulte_pris = fabsf(V_pris_velo_PID);
//		} else if (V_pris_velo_PID > 0) {
//			DIR_24V = 1;
//			V_absoulte_pris = V_pris_velo_PID;
//		}
//		pwm_pris_velo = voltage_to_pwm(V_absoulte_pris);
//		HAL_GPIO_WritePin(GPIOB, GPIO_PIN_1, DIR_24V);
//		__HAL_TIM_SET_COMPARE(&htim20, TIM_CHANNEL_1, pwm_pris_velo);
//
//		if (V_rev_velo_PID < 0) {
//			DIR_18V = 0;
//			V_absolute_rev = fabsf(V_rev_velo_PID);
//		} else if (V_rev_velo_PID > 0) {
//			DIR_18V = 1;
//			V_absolute_rev = V_rev_velo_PID;
//		}
//		V_plant = V_absolute_rev + voltage_dis_rev;
//		if (V_plant > 18) {
//			V_plant = 18;
//		}
//		pwm_rev_velo = (V_plant / 18) * 65535;
//		HAL_GPIO_WritePin(GPIOC, GPIO_PIN_6, DIR_18V);
//		__HAL_TIM_SET_COMPARE(&htim20, TIM_CHANNEL_3, pwm_rev_velo);
	}
  /* USER CODE END 3 */
}

void SystemClock_Config(void)
{
  RCC_OscInitTypeDef RCC_OscInitStruct = {0};
  RCC_ClkInitTypeDef RCC_ClkInitStruct = {0};

  /** Configure the main internal regulator output voltage
  */
  HAL_PWREx_ControlVoltageScaling(PWR_REGULATOR_VOLTAGE_SCALE1_BOOST);

  /** Initializes the RCC Oscillators according to the specified parameters
  * in the RCC_OscInitTypeDef structure.
  */
  RCC_OscInitStruct.OscillatorType = RCC_OSCILLATORTYPE_HSI;
  RCC_OscInitStruct.HSIState = RCC_HSI_ON;
  RCC_OscInitStruct.HSICalibrationValue = RCC_HSICALIBRATION_DEFAULT;
  RCC_OscInitStruct.PLL.PLLState = RCC_PLL_ON;
  RCC_OscInitStruct.PLL.PLLSource = RCC_PLLSOURCE_HSI;
  RCC_OscInitStruct.PLL.PLLM = RCC_PLLM_DIV4;
  RCC_OscInitStruct.PLL.PLLN = 85;
  RCC_OscInitStruct.PLL.PLLP = RCC_PLLP_DIV2;
  RCC_OscInitStruct.PLL.PLLQ = RCC_PLLQ_DIV2;
  RCC_OscInitStruct.PLL.PLLR = RCC_PLLR_DIV2;
  if (HAL_RCC_OscConfig(&RCC_OscInitStruct) != HAL_OK)
  {
    Error_Handler();
  }

  /** Initializes the CPU, AHB and APB buses clocks
  */
  RCC_ClkInitStruct.ClockType = RCC_CLOCKTYPE_HCLK|RCC_CLOCKTYPE_SYSCLK
                              |RCC_CLOCKTYPE_PCLK1|RCC_CLOCKTYPE_PCLK2;
  RCC_ClkInitStruct.SYSCLKSource = RCC_SYSCLKSOURCE_PLLCLK;
  RCC_ClkInitStruct.AHBCLKDivider = RCC_SYSCLK_DIV1;
  RCC_ClkInitStruct.APB1CLKDivider = RCC_HCLK_DIV1;
  RCC_ClkInitStruct.APB2CLKDivider = RCC_HCLK_DIV1;

  if (HAL_RCC_ClockConfig(&RCC_ClkInitStruct, FLASH_LATENCY_4) != HAL_OK)
  {
    Error_Handler();
  }
}

/* USER CODE BEGIN 4 */
void HAL_GPIO_EXTI_Callback(uint16_t GPIO_Pin) {
	if (GPIO_Pin == GPIO_PIN_9) { // Back Limit
		State = 9;
	} else if (GPIO_Pin == GPIO_PIN_10) { // Front Limit
		State = 10;
	} else if (GPIO_Pin == GPIO_PIN_11) { // Emergency
		if (Emer_trick - Emer_last_trick >= 1000) {
			Emer_count += 1;
			Emer_last_trick = Emer_trick;
			if (Emer_count % 2 == 1) {
				Emer_state = 1;
			}
		}

		State = 11;
	} else if (GPIO_Pin == GPIO_PIN_12) { // Right Proximity
		Home_Rev = 1;
		State = 12;
	} else if (GPIO_Pin == GPIO_PIN_13) { // Left Proximity
		State = 13;
	} else if (GPIO_Pin == GPIO_PIN_14) { // Upper Limit
		State = 14;
	} else if (GPIO_Pin == GPIO_PIN_15) { // Bottom Limit
		Home_Pris = 1;
		State = 15;
//		set_home_pris = 1;
//		count_pris += 1;
	}
}

void HAL_TIM_PeriodElapsedCallback(TIM_HandleTypeDef *htim) {
	if (htim->Instance == TIM6) {
		emergency_process_sample();
	}
}

void emergency_process_sample() {
	/* Read raw switch state (0 or 1) */
	uint8_t raw_switch = HAL_GPIO_ReadPin(EMERGENCY_SWITCH_PORT, EMERGENCY_SWITCH_PIN);

	/* Process through digital filter */
	uint8_t state_changed = emergency_switch_update(&emergency_filter, raw_switch);

	/* Check if state changed */
	if (state_changed) {
		if (emergency_switch_is_pressed(&emergency_filter)) {
			emergency_active = 1;
		} else {
			emergency_active = 0;
		}
	}

}

float Prismatic_position_control(float delta_posi) {
	int anti_windup;
	error_posi_pris[0] = delta_posi;
//	Pris_posi_PID.Kp = 1;
//	Pris_posi_PID.Kd = 1;

	if (error_posi_pris[0] < 0 && error_posi_pris[1] > 0) {
		anti_windup = 0;
	} else if (error_posi_pris[0] > 0 && error_posi_pris[1] < 0) {
		anti_windup = 0;
	} else {
		anti_windup = 1;
	}

//	if (V_pris_posi_PID >= 24 && anti_windup == 0) {
//		Pris_posi_PID.Ki = 0;
//	} else {
//		Pris_posi_PID.Ki = 1;
//	}

	V_pris_posi_PID = arm_pid_f32(&Pris_posi_PID, delta_posi);

//	if (V_pris_posi_PID > 24) {
//		V_pris_posi_PID = 24;
//	}

	error_posi_pris[1] = error_posi_pris[0];
	return V_pris_posi_PID;
}

float Prismatic_velocity_control(float delta_velo) {
	int anti_windup;
	error_velo_pris[0] = delta_velo;
//	Pris_velo_PID.Kp = 0.01;

	if (error_velo_pris[0] < 0 && error_velo_pris[1] > 0) {
		anti_windup = 0;
	} else if (error_velo_pris[0] > 0 && error_velo_pris[1] < 0) {
		anti_windup = 0;
	} else {
		anti_windup = 1;
	}

	if (V_pris_velo_PID >= 24 && anti_windup == 0) {
		Pris_velo_PID.Ki = 0;
	} else {
		Pris_velo_PID.Ki = 0.001;
	}

	V_pris_velo_PID = arm_pid_f32(&Pris_velo_PID, delta_velo);

	if (V_pris_velo_PID > 24) {
		V_pris_velo_PID = 24;
	} else if (V_pris_velo_PID < -24) {
		V_pris_velo_PID = -24;
	}

	error_velo_pris[1] = error_velo_pris[0];
	return V_pris_velo_PID;
}

float Revolute_position_control(float delta_posi) {
	int anti_windup;
	error_posi_rev[0] = delta_posi;
//	Rev_posi_PID.Kp = 1;
//	Rev_posi_PID.Kd = 1;

	if (error_posi_rev[0] < 0 && error_posi_rev[1] > 0) {
		anti_windup = 0;
	} else if (error_posi_rev[0] > 0 && error_posi_rev[1] < 0) {
		anti_windup = 0;
	} else {
		anti_windup = 1;
	}

//	if (V_rev_posi_PID >= 24 && anti_windup == 0) {
//		Rev_posi_PID.Ki = 0;
//	} else {
//		Rev_posi_PID.Ki = 1;
//	}

	V_rev_posi_PID = arm_pid_f32(&Rev_posi_PID, delta_posi);

//	if (V_rev_posi_PID > 24) {
//		V_rev_posi_PID = 24;
//	}

	error_posi_rev[1] = error_posi_rev[0];
	return V_rev_posi_PID;
}

float Revolute_velocity_control(float delta_velo) {
	int anti_windup;
	error_velo_rev[0] = delta_velo;
//	Rev_velo_PID.Kp = 0.01;

	if (error_velo_rev[0] < 0 && error_velo_rev[1] > 0) {
		anti_windup = 0;
	} else if (error_velo_rev[0] > 0 && error_velo_rev[1] < 0) {
		anti_windup = 0;
	} else {
		anti_windup = 1;
	}

	if (V_rev_velo_PID >= 18 && anti_windup == 0) {
		Rev_velo_PID.Ki = 0;
	} else {
		Rev_velo_PID.Ki = 0.001;
	}

	if (V_rev_velo_PID > 18) {
		V_rev_velo_PID = 18;
	}

	V_rev_velo_PID = arm_pid_f32(&Rev_velo_PID, delta_velo);
	error_velo_rev[1] = error_velo_rev[0];
	return V_rev_velo_PID;
}

float voltage_to_pwm(float voltage) {
	float pwm = (voltage * 65535) / 24;
	return pwm;
}

//float Prismatic_dis() {
//	float load = 0.01 / (2.0 * (22.0/7.0) * 4.0 * motor.Kt_Pri);
//	voltage_dis = (disturbance_feedforward_pri(&motor, load)) * (0.3*9.81) * gain_disturbance; // อย่าลืมคูณ sin(theta)
//	return voltage_dis;
//}

float Revolute_dis() {
//	load = (8.2 * 9.81 * 0.45
//			* sinf(Encoder_GetPosition(&encoder2) / (100.0 / 30.0)))
//			+ (0.3 * 9.81
//					* sinf(Encoder_GetPosition(&encoder2) / (100.0 / 30.0))
//					* 0.4);
//	sine = sinf(Encoder_GetPosition(&encoder2) / (100.0 / 30.0));
//	encoder = Encoder_GetPosition(&encoder2) / (100.0 / 30.0);
//	load = (8.2 * 9.81 * 0.45 * cosf(1.57)) + (0.3 * 9.81 * cosf(1.57) * 0.4);
//	voltage_dis_rev = (disturbance_feedforward(&Rev_motor, load)) * gain_disturbance_rev;
	voltage_dis_rev = (Rev_motor.R_Rev / Rev_motor.Ke_Rev) * kf_rev.x_data[2]
			* 1.0 / 3.3;
	return voltage_dis_rev;
}
//void set_home_Pris() {
//	HAL_GPIO_WritePin(GPIOB, GPIO_PIN_1, 0);
//	__HAL_TIM_SET_COMPARE(&htim20, TIM_CHANNEL_1, 30000);
//}

//void set_home_Rev() {
//	HAL_GPIO_WritePin(GPIOC, GPIO_PIN_6, 0);
//	__HAL_TIM_SET_COMPARE(&htim20, TIM_CHANNEL_3, 25000);
//	if (Encoder_GetVelocity(&encoder2)/ (100.0 / 30.0) >= 0.5) {
//		__HAL_TIM_SET_COMPARE(&htim20, TIM_CHANNEL_3, 0);
//	}

//}
/* USER CODE END 4 */

void Error_Handler(void)
{
	__disable_irq();
	while (1) {
	}
}
